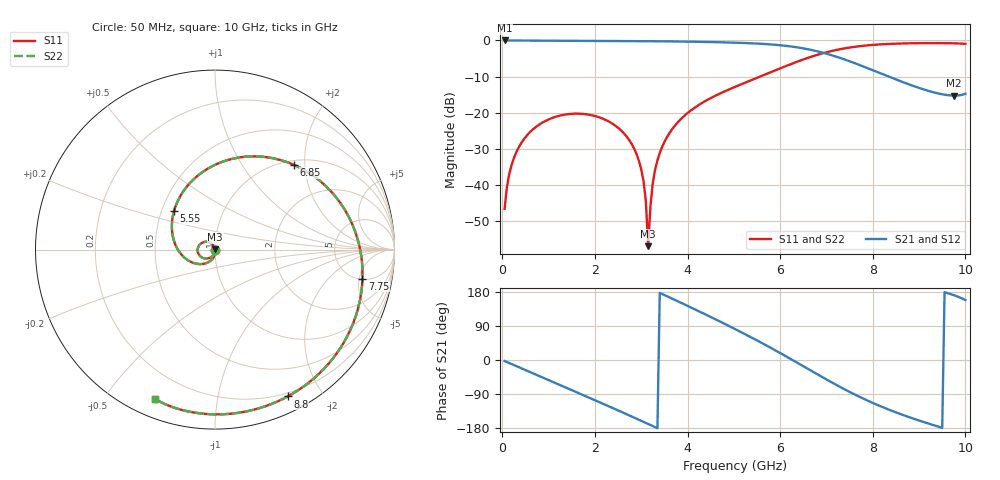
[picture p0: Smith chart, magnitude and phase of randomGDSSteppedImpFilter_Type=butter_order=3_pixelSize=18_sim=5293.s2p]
! freq	dB(S11)	phase(S11)	dB(S12)	phase(S12)
!  dB(S21)	phase(S21)	dB(S22)	phase(S22)
!S-par simulation data
#  GHz  S  DB  R 50
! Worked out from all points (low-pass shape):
!   200 points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, 50 MHz to 10 GHz, reference 50 ohm
!   highest |S21| = -0.01 dB at 50 MHz (marker M1); lowest = -15.3 dB at 9.75 GHz (marker M2)
!   |S21| within 3 dB of the highest: start of sweep to 6.801 GHz
!   lowest |S11| = -57.0 dB at 3.15 GHz (marker M3), VSWR 1.00, Z = 50.1 + j0.0641 ohm
!   |S11| at or under -10 dB: start of sweep to 5.567 GHz
!   |S22| runs from -56.7 to -0.7 dB; largest |S21 - S12| = 0
!   S11 on the Smith chart (normalised r, x): 50 MHz: 1.00, -0.01; 5.55 GHz: 0.58, +0.27; 6.85 GHz: 1.08, +1.76; 7.75 GHz: 5.17, -5.58; 8.8 GHz: 0.16, -1.60; 10 GHz: 0.08, -0.67
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0.05  -46.62 -92.3  -0.01 -2.7  -0.01 -2.7  -46.62 -92.3
0.2  -34.53 -100.0  -0.02 -10.7  -0.02 -10.7  -34.53 -100.0
0.5  -26.79 -116.5  -0.04 -26.6  -0.04 -26.6  -26.79 -116.5
1.75  -20.35 176.2  -0.15 -92.7  -0.15 -92.7  -20.35 176.1
2.4  -23.23 141.0  -0.17 -127.5  -0.17 -127.5  -23.23 140.9
2.85  -30.04 115.4  -0.19 -152.1  -0.19 -152.1  -30.04 115.2
3.05  -38.98 101.0  -0.20 -163.2  -0.20 -163.2  -38.98 100.7
3.1  -44.48 93.6  -0.21 -166.0  -0.21 -166.0  -44.47 92.9
3.15  -56.97 26.8  -0.21 -168.8  -0.21 -168.8  -56.66 26.2
3.25  -39.48 -79.8  -0.22 -174.4  -0.22 -174.4  -39.46 -79.4
3.4  -31.16 -91.5  -0.24 177.2  -0.24 177.2  -31.16 -91.4
4.3  -17.41 -145.1  -0.40 125.4  -0.40 125.4  -17.41 -145.1
5.05  -12.73 169.1  -0.63 80.2  -0.63 80.2  -12.73 169.1
5.55  -10.09 136.9  -0.90 48.4  -0.90 48.4  -10.09 136.9
6.15  -6.97 96.3  -1.54 8.1  -1.54 8.1  -6.97 96.3
6.7  -4.40 57.6  -2.71 -30.5  -2.71 -30.5  -4.40 57.6
6.85  -3.81 47.1  -3.16 -41.0  -3.16 -41.0  -3.81 47.1
7.75  -1.54 -11.1  -6.98 -99.3  -6.98 -99.3  -1.54 -11.1
8.35  -0.97 -43.1  -10.04 -131.2  -10.04 -131.2  -0.97 -43.0
8.8  -0.79 -63.7  -12.26 -151.5  -12.26 -151.5  -0.79 -63.6
9.75  -0.80 -101.6  -15.28 171.0  -15.28 171.0  -0.80 -101.6
10  -0.95 -111.9  -14.76 158.3  -14.76 158.3  -0.95 -111.8
